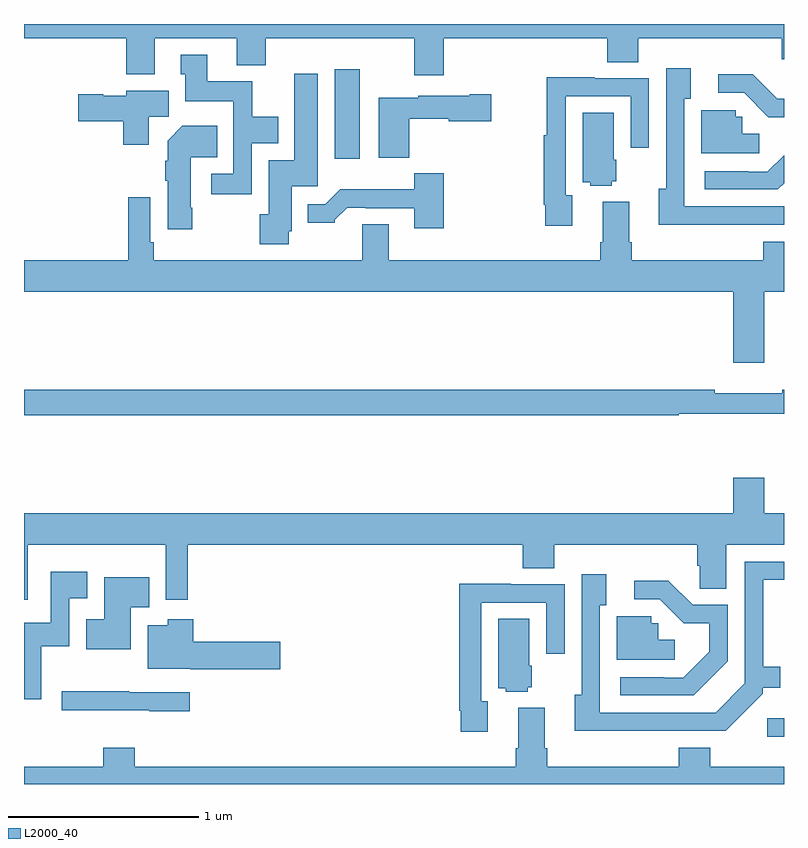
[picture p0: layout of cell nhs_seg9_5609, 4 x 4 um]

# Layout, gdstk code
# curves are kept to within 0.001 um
import gdstk
lib = gdstk.Library(unit=1e-6, precision=1e-09)
def R(c, l, rs):  # rectangles x0, y0, x1, y1
    for r in rs: c.add(gdstk.rectangle(r[:2], r[2:], *l))
def P(c, l, *ps):  # polygons
    for p in ps: c.add(gdstk.Polygon(p, *l))
L2000_40 = (2000, 40)

nhs_seg9_5609 = lib.new_cell('nhs_seg9_5609')
R(nhs_seg9_5609, L2000_40, [(440.913,1188.749,441,1188.847), (438.635,1191.792,438.766,1192.261)])
P(nhs_seg9_5609, L2000_40, [(439.208,1192.424),(440.069,1192.424),(440.069,1192.3),(440.234,1192.3),(440.234,1192.424),(440.987,1192.424),(440.987,1192.314),(441,1192.314),(441,1192.5),(437,1192.5),(437,1192.424),(437.537,1192.424),(437.537,1192.235),(437.689,1192.235),(437.689,1192.424),(438.119,1192.424),(438.119,1192.283),(438.272,1192.283),(438.272,1192.424),(439.055,1192.424),(439.055,1192.23),(439.208,1192.23)],
  [(438.198,1191.872),(438.337,1191.872),(438.337,1192.012),(438.201,1192.012),(438.201,1192.198),(437.965,1192.198),(437.965,1192.339),(437.825,1192.339),(437.825,1192.236),(437.849,1192.236),(437.849,1192.094),(438.102,1192.094),(438.102,1191.711),(437.985,1191.711),(437.985,1191.603),(438.198,1191.603)],
  [(440.807,1191.444),(441,1191.444),(441,1191.54),(440.475,1191.54),(440.475,1192.106),(440.509,1192.106),(440.509,1192.267),(440.379,1192.267),(440.379,1191.634),(440.342,1191.634),(440.342,1191.443),(440.807,1191.443)],
  [(438.393,1191.408),(438.409,1191.408),(438.409,1191.645),(438.547,1191.645),(438.547,1192.237),(438.422,1192.237),(438.422,1191.784),(438.287,1191.784),(438.287,1191.498),(438.241,1191.498),(438.241,1191.342),(438.393,1191.342)],
  [(441,1192.107),(440.964,1192.107),(440.836,1192.235),(440.655,1192.235),(440.655,1192.137),(440.79,1192.137),(440.917,1192.01),(441,1192.01)],
  [(439.885,1191.599),(439.851,1191.599),(439.851,1192.119),(440.193,1192.119),(440.193,1191.849),(440.289,1191.849),(440.289,1192.215),(440.005,1192.215),(440.005,1192.219),(439.75,1192.219),(439.75,1191.915),(439.735,1191.915),(439.735,1191.55),(439.743,1191.55),(439.743,1191.438),(439.885,1191.438)],
  [(437.656,1192.012),(437.761,1192.012),(437.761,1192.15),(437.538,1192.15),(437.538,1192.123),(437.418,1192.123),(437.418,1192.131),(437.286,1192.131),(437.286,1191.989),(437.522,1191.989),(437.522,1191.864),(437.656,1191.864)],
  [(439.028,1192.001),(439.236,1192.001),(439.236,1191.989),(439.459,1191.989),(439.459,1192.131),(439.346,1192.131),(439.346,1192.123),(439.074,1192.123),(439.074,1192.111),(438.866,1192.111),(438.866,1191.797),(439.028,1191.797)],
  [(440.869,1191.922),(440.781,1191.922),(440.781,1192.011),(440.745,1192.011),(440.745,1192.047),(440.564,1192.047),(440.564,1191.819),(440.869,1191.819)],
  [(440.094,1191.672),(440.116,1191.672),(440.116,1191.786),(440.104,1191.786),(440.104,1192.034),(439.94,1192.034),(439.94,1191.668),(439.98,1191.668),(439.98,1191.65),(440.094,1191.65)],
  [(437.886,1191.532),(437.878,1191.532),(437.878,1191.8),(438.017,1191.8),(438.017,1191.964),(437.834,1191.964),(437.756,1191.886),(437.756,1191.779),(437.744,1191.779),(437.744,1191.676),(437.756,1191.676),(437.756,1191.42),(437.886,1191.42)],
  [(441,1191.662),(441,1191.81),(440.913,1191.723),(440.813,1191.723),(440.813,1191.726),(440.583,1191.726),(440.583,1191.63),(440.968,1191.63)],
  [(439.208,1191.715),(439.053,1191.715),(439.053,1191.631),(438.664,1191.631),(438.585,1191.552),(438.494,1191.552),(438.494,1191.455),(438.636,1191.455),(438.636,1191.47),(438.7,1191.534),(438.799,1191.534),(438.799,1191.531),(439.055,1191.531),(439.055,1191.426),(439.208,1191.426)],
  [(440.896,1191.092),(441,1191.092),(441,1191.355),(440.891,1191.355),(440.891,1191.256),(440.198,1191.256),(440.198,1191.352),(440.185,1191.352),(440.185,1191.565),(440.045,1191.565),(440.045,1191.352),(440.033,1191.352),(440.033,1191.256),(438.919,1191.256),(438.919,1191.446),(438.779,1191.446),(438.779,1191.256),(437.684,1191.256),(437.684,1191.352),(437.664,1191.352),(437.664,1191.589),(437.548,1191.589),(437.548,1191.256),(437,1191.256),(437,1191.092),(440.732,1191.092),(440.732,1190.718),(440.896,1190.718)],
  [(440.446,1190.448),(441,1190.448),(441,1190.576),(440.992,1190.576),(440.992,1190.557),(440.636,1190.557),(440.636,1190.576),(437,1190.576),(437,1190.44),(440.446,1190.44)],
  [(437.019,1189.76),(437.745,1189.76),(437.745,1189.47),(437.861,1189.47),(437.861,1189.76),(439.625,1189.76),(439.625,1189.636),(439.79,1189.636),(439.79,1189.76),(440.543,1189.76),(440.543,1189.65),(440.557,1189.65),(440.557,1189.528),(440.695,1189.528),(440.695,1189.76),(441,1189.76),(441,1189.924),(440.896,1189.924),(440.896,1190.113),(440.732,1190.113),(440.732,1189.924),(437,1189.924),(437,1189.47),(437.019,1189.47)],
  [(440.363,1188.78),(440.694,1188.78),(440.889,1188.975),(440.889,1189.007),(440.981,1189.007),(440.981,1189.117),(440.89,1189.117),(440.89,1189.575),(441,1189.575),(441,1189.671),(440.793,1189.671),(440.793,1189.029),(440.64,1188.876),(440.031,1188.876),(440.031,1189.442),(440.065,1189.442),(440.065,1189.603),(439.935,1189.603),(439.935,1188.97),(439.898,1188.97),(439.898,1188.779)],
  [(437.091,1189.226),(437.238,1189.226),(437.238,1189.478),(437.332,1189.478),(437.332,1189.618),(437.142,1189.618),(437.142,1189.348),(437,1189.348),(437,1188.945),(437.091,1188.945)],
  [(437.563,1189.43),(437.66,1189.43),(437.66,1189.588),(437.423,1189.588),(437.423,1189.366),(437.327,1189.366),(437.327,1189.208),(437.563,1189.208)],
  [(440.703,1189.145),(440.703,1189.443),(440.52,1189.443),(440.392,1189.571),(440.211,1189.571),(440.211,1189.473),(440.346,1189.473),(440.473,1189.346),(440.606,1189.346),(440.606,1189.196),(440.469,1189.059),(440.369,1189.059),(440.369,1189.062),(440.139,1189.062),(440.139,1188.966),(440.524,1188.966)],
  [(439.441,1188.935),(439.407,1188.935),(439.407,1189.455),(439.749,1189.455),(439.749,1189.185),(439.845,1189.185),(439.845,1189.551),(439.561,1189.551),(439.561,1189.555),(439.291,1189.555),(439.291,1188.886),(439.299,1188.886),(439.299,1188.774),(439.441,1188.774)],
  [(440.425,1189.258),(440.337,1189.258),(440.337,1189.347),(440.301,1189.347),(440.301,1189.383),(440.12,1189.383),(440.12,1189.155),(440.425,1189.155)],
  [(439.65,1189.008),(439.672,1189.008),(439.672,1189.122),(439.66,1189.122),(439.66,1189.37),(439.496,1189.37),(439.496,1189.004),(439.536,1189.004),(439.536,1188.986),(439.65,1188.986)],
  [(438.349,1189.25),(437.891,1189.25),(437.891,1189.366),(437.756,1189.366),(437.756,1189.336),(437.651,1189.336),(437.651,1189.106),(437.874,1189.106),(437.874,1189.103),(438.349,1189.103)],
  [(437.872,1188.984),(437.555,1188.984),(437.555,1188.987),(437.199,1188.987),(437.199,1188.887),(437.659,1188.887),(437.659,1188.883),(437.872,1188.883)],
  [(440.612,1188.691),(440.447,1188.691),(440.447,1188.592),(439.754,1188.592),(439.754,1188.688),(439.741,1188.688),(439.741,1188.901),(439.601,1188.901),(439.601,1188.688),(439.589,1188.688),(439.589,1188.592),(437.582,1188.592),(437.582,1188.691),(437.417,1188.691),(437.417,1188.592),(437,1188.592),(437,1188.5),(441,1188.5),(441,1188.592),(440.612,1188.592)])

lib.write_gds('nhs_seg9_5609.gds')
